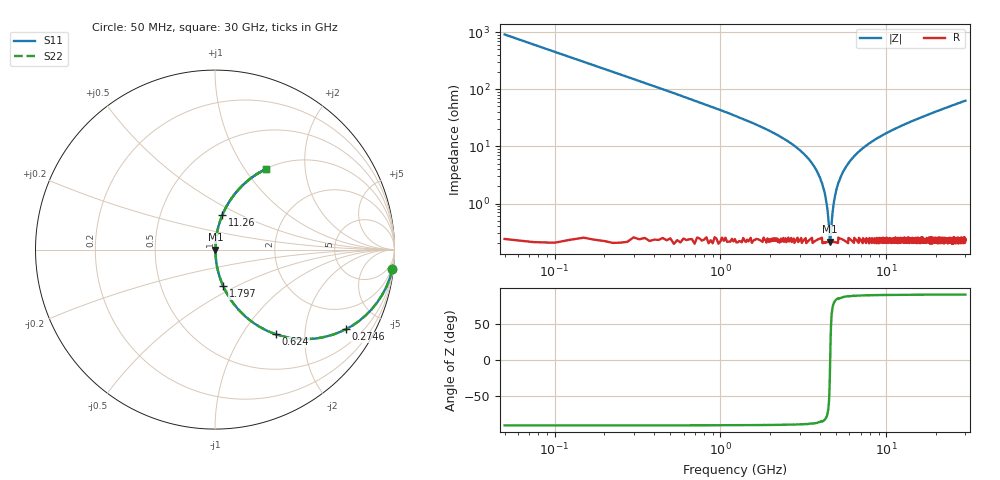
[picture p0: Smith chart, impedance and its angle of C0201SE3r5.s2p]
!	AVX Thin Film Operation 	Date: April 2014
!	Description: Accu-P® Series, Thin Film  SMD RF Capacitor
!	Part Number: 02013J3R5ABSTR
# MHZ S MA R 50
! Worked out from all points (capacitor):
!   1201 points, 50 MHz to 30 GHz, reference 50 ohm
!   read as one part in series: C = 3.5 pF near 199.8 MHz
!   lowest |Z| = 214 mohm at 4.592 GHz (marker M1)
!   series resonance near 4.591 GHz, so ESL is about 340 pH
!   S11 on the Smith chart (normalised r, x): 50 MHz: 1, -18; 274.6 MHz: 1.00, -3.30; 624 MHz: 1.00, -1.43; 1.797 GHz: 1.00, -0.43; 11.26 GHz: 1.00, +0.40; 30 GHz: 1.01, +1.26
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50  0.994 -6.3  0.109 83.7  0.109 83.7  0.994 -6.3
274.625  0.855 -31.2  0.518 58.7  0.518 58.7  0.855 -31.2
624.042  0.581 -54.3  0.812 35.5  0.812 35.5  0.581 -54.3
1073.292  0.371 -67.9  0.926 21.8  0.926 21.8  0.371 -67.9
1797.083  0.209 -77.3  0.976 12.1  0.976 12.1  0.209 -77.3
3144.833  0.076 -83.9  0.995 4.4  0.995 4.4  0.076 -83.9
3793.75  0.038 -84.4  0.997 2.2  0.997 2.2  0.038 -84.4
4193.083  0.018 -81.8  0.998 1.0  0.998 1.0  0.018 -81.8
4342.833  0.011 -77.7  0.998 0.6  0.998 0.6  0.011 -77.7
4492.583  0.004833 -61.8  0.998 0.2  0.998 0.2  0.004833 -61.8
4592.417  0.002266 1.9  0.998 -0.0  0.998 -0.0  0.002266 1.9
4692.25  0.004883 62.1  0.998 -0.2  0.998 -0.2  0.004883 62.1
4866.958  0.012 78.2  0.998 -0.7  0.998 -0.7  0.012 78.2
5041.667  0.019 82.0  0.998 -1.1  0.998 -1.1  0.019 82.0
5590.75  0.039 84.4  0.997 -2.2  0.997 -2.2  0.039 84.4
6589.083  0.073 84.0  0.995 -4.2  0.995 -4.2  0.073 84.0
10058.29  0.169 79.5  0.983 -9.7  0.983 -9.7  0.169 79.5
11256.29  0.198 77.9  0.978 -11.4  0.978 -11.4  0.198 77.9
15025  0.281 73.2  0.957 -16.3  0.957 -16.3  0.281 73.2
20016.67  0.378 67.5  0.924 -22.2  0.924 -22.2  0.378 67.5
25033.29  0.462 62.2  0.885 -27.5  0.885 -27.5  0.462 62.2
30000  0.533 57.6  0.844 -32.2  0.844 -32.2  0.533 57.6
